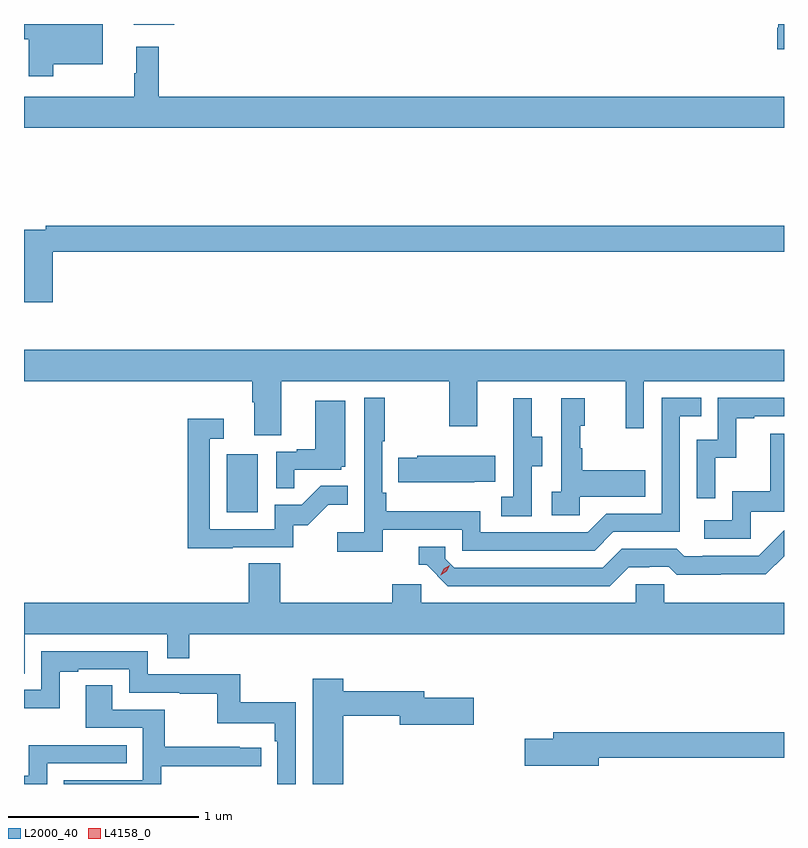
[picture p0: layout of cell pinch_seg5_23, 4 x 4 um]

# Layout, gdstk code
import gdstk
lib = gdstk.Library(unit=1e-6, precision=1e-09)
def R(c, l, rs):  # rectangles x0, y0, x1, y1
    for r in rs: c.add(gdstk.rectangle(r[:2], r[2:], *l))
def P(c, l, *ps):  # polygons
    for p in ps: c.add(gdstk.Polygon(p, *l))
L2000_40 = (2000, 40)
L4158_0 = (4158, 0)

pinch_seg5_23 = lib.new_cell('pinch_seg5_23')
R(pinch_seg5_23, L2000_40, [(1118.144,896.028,1118.308,896.335), (1117.655,898.595,1117.87,898.599)])
P(pinch_seg5_23, L2000_40, [(1121.078,898.599),(1121.047,898.599),(1121.047,898.579),(1121.042,898.579),(1121.042,898.467),(1121.078,898.467)],
  [(1117.231,898.388),(1117.492,898.388),(1117.492,898.599),(1117.078,898.599),(1117.078,898.518),(1117.102,898.518),(1117.102,898.323),(1117.231,898.323)],
  [(1121.078,898.216),(1117.787,898.216),(1117.787,898.48),(1117.67,898.48),(1117.67,898.34),(1117.659,898.34),(1117.659,898.216),(1117.078,898.216),(1117.078,898.052),(1121.078,898.052)],
  [(1117.229,897.4),(1121.078,897.4),(1121.078,897.536),(1117.192,897.536),(1117.192,897.516),(1117.078,897.516),(1117.078,897.135),(1117.229,897.135)],
  [(1118.431,896.72),(1119.316,896.72),(1119.316,896.481),(1119.463,896.481),(1119.463,896.72),(1120.244,896.72),(1120.244,896.472),(1120.341,896.472),(1120.341,896.72),(1121.078,896.72),(1121.078,896.884),(1117.078,896.884),(1117.078,896.72),(1118.279,896.72),(1118.279,896.608),(1118.291,896.608),(1118.291,896.434),(1118.431,896.434)],
  [(1118.966,895.938),(1119.384,895.938),(1119.384,895.827),(1120.081,895.827),(1120.18,895.926),(1120.53,895.926),(1120.53,896.535),(1120.643,896.535),(1120.643,896.631),(1120.434,896.631),(1120.434,896.022),(1120.143,896.022),(1120.044,895.923),(1119.48,895.923),(1119.48,896.035),(1118.984,896.035),(1118.984,896.131),(1118.964,896.131),(1118.964,896.404),(1118.977,896.404),(1118.977,896.632),(1118.868,896.632),(1118.868,895.924),(1118.727,895.924),(1118.727,895.822),(1118.966,895.822)],
  [(1120.716,896.315),(1120.826,896.315),(1120.826,896.523),(1120.921,896.523),(1120.921,896.535),(1121.078,896.535),(1121.078,896.631),(1120.728,896.631),(1120.728,896.412),(1120.62,896.412),(1120.62,896.103),(1120.716,896.103)],
  [(1120.002,896.111),(1120.349,896.111),(1120.349,896.251),(1120.015,896.251),(1120.015,896.366),(1120.005,896.366),(1120.005,896.484),(1120.03,896.484),(1120.03,896.629),(1119.906,896.629),(1119.906,896.138),(1119.855,896.138),(1119.855,896.013),(1120.002,896.013)],
  [(1119.75,896.272),(1119.805,896.272),(1119.805,896.427),(1119.751,896.427),(1119.751,896.629),(1119.653,896.629),(1119.653,896.415),(1119.654,896.415),(1119.654,896.111),(1119.591,896.111),(1119.591,896.008),(1119.75,896.008)],
  [(1118.501,896.253),(1118.748,896.253),(1118.748,896.268),(1118.77,896.268),(1118.77,896.617),(1118.612,896.617),(1118.612,896.362),(1118.513,896.362),(1118.513,896.349),(1118.406,896.349),(1118.406,896.155),(1118.501,896.155)],
  [(1118.177,895.845),(1118.496,895.845),(1118.496,895.962),(1118.572,895.962),(1118.679,896.069),(1118.783,896.069),(1118.783,896.168),(1118.639,896.168),(1118.541,896.07),(1118.397,896.07),(1118.397,895.941),(1118.055,895.941),(1118.055,896.415),(1118.128,896.415),(1118.128,896.521),(1117.939,896.521),(1117.939,895.84),(1118.177,895.84)],
  [(1120.902,896.031),(1121.078,896.031),(1121.078,896.443),(1121.005,896.443),(1121.005,896.14),(1120.806,896.14),(1120.806,895.986),(1120.659,895.986),(1120.659,895.89),(1120.902,895.89)],
  [(1119.449,896.189),(1119.557,896.189),(1119.557,896.326),(1119.147,896.326),(1119.147,896.316),(1119.049,896.316),(1119.049,896.186),(1119.449,896.186)],
  [(1120.261,895.74),(1120.368,895.74),(1120.368,895.743),(1120.471,895.743),(1120.513,895.701),(1120.746,895.701),(1120.746,895.703),(1120.982,895.703),(1121.078,895.799),(1121.078,895.934),(1120.944,895.8),(1120.651,895.8),(1120.651,895.797),(1120.552,895.797),(1120.513,895.836),(1120.224,895.836),(1120.125,895.737),(1119.342,895.737),(1119.294,895.785),(1119.294,895.848),(1119.155,895.848),(1119.155,895.752),(1119.198,895.752),(1119.309,895.641),(1120.162,895.641)],
  [(1117.081,895.388),(1117.833,895.388),(1117.833,895.261),(1117.949,895.261),(1117.949,895.388),(1121.078,895.388),(1121.078,895.552),(1120.449,895.552),(1120.449,895.65),(1120.299,895.65),(1120.299,895.552),(1119.168,895.552),(1119.168,895.65),(1119.017,895.65),(1119.017,895.552),(1118.426,895.552),(1118.426,895.76),(1118.261,895.76),(1118.261,895.552),(1117.078,895.552),(1117.078,895.18),(1117.081,895.18)],
  [(1118.508,895.03),(1118.215,895.03),(1118.215,895.176),(1117.728,895.176),(1117.728,895.299),(1117.17,895.299),(1117.17,895.095),(1117.078,895.095),(1117.078,894.998),(1117.267,894.998),(1117.267,895.191),(1117.363,895.191),(1117.363,895.203),(1117.632,895.203),(1117.632,895.08),(1117.897,895.08),(1117.897,895.075),(1118.094,895.075),(1118.094,894.92),(1118.399,894.92),(1118.399,894.824),(1118.412,894.824),(1118.412,894.599),(1118.508,894.599)],
  [(1118.758,894.958),(1119.056,894.958),(1119.056,894.911),(1119.445,894.911),(1119.445,895.053),(1119.184,895.053),(1119.184,895.087),(1118.758,895.087),(1118.758,895.153),(1118.597,895.153),(1118.597,894.599),(1118.758,894.599)],
  [(1117.8,894.693),(1118.326,894.693),(1118.326,894.789),(1118.213,894.789),(1118.213,894.794),(1117.82,894.794),(1117.82,894.99),(1117.543,894.99),(1117.543,895.118),(1117.403,895.118),(1117.403,894.894),(1117.704,894.894),(1117.704,894.618),(1117.288,894.618),(1117.288,894.599),(1117.8,894.599)],
  [(1120.102,894.736),(1121.078,894.736),(1121.078,894.872),(1119.863,894.872),(1119.863,894.836),(1119.714,894.836),(1119.714,894.694),(1120.102,894.694)],
  [(1117.2,894.708),(1117.619,894.708),(1117.619,894.804),(1117.104,894.804),(1117.104,894.643),(1117.078,894.643),(1117.078,894.599),(1117.2,894.599)])
P(pinch_seg5_23, L4158_0, [(1119.271,895.699),(1119.271,895.699),(1119.288,895.732),(1119.319,895.75),(1119.319,895.75),(1119.319,895.75),(1119.302,895.718),(1119.271,895.699)])

lib.write_gds('pinch_seg5_23.gds')
